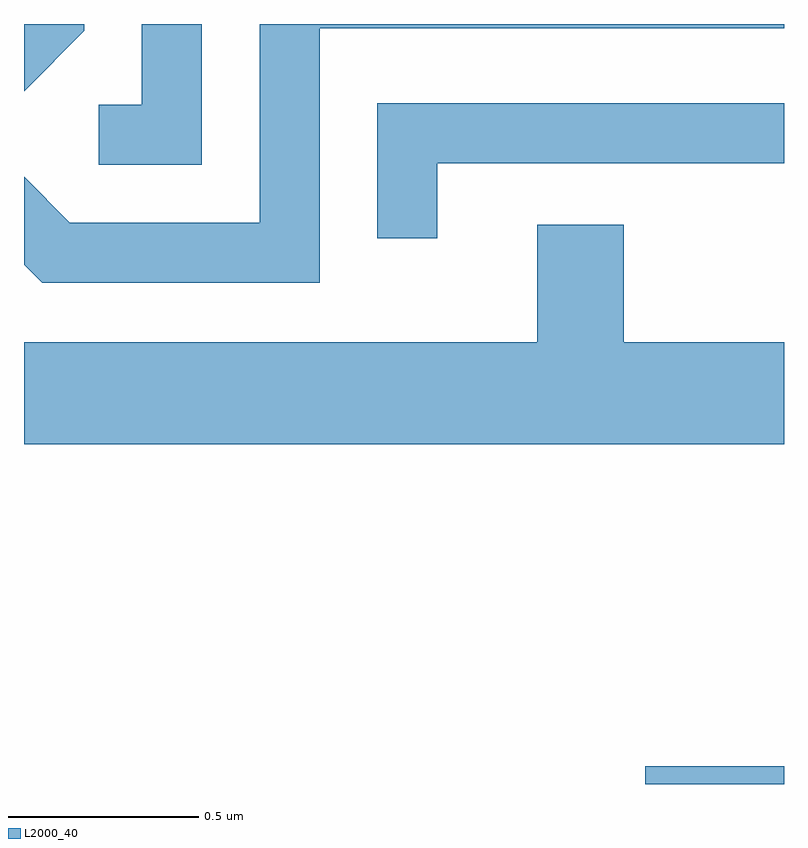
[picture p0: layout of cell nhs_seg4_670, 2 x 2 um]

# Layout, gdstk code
import gdstk
lib = gdstk.Library(unit=1e-6, precision=1e-09)
def R(c, l, rs):  # rectangles x0, y0, x1, y1
    for r in rs: c.add(gdstk.rectangle(r[:2], r[2:], *l))
def P(c, l, *ps):  # polygons
    for p in ps: c.add(gdstk.Polygon(p, *l))
L2000_40 = (2000, 40)

nhs_seg4_670 = lib.new_cell('nhs_seg4_670')
R(nhs_seg4_670, L2000_40, [(191.246,1375.982,191.611,1376.029)])
P(nhs_seg4_670, L2000_40, [(190.079,1377.982),(189.921,1377.982),(189.921,1377.769),(189.808,1377.769),(189.808,1377.611),(190.079,1377.611)],
  [(189.769,1377.964),(189.769,1377.982),(189.611,1377.982),(189.611,1377.805)],
  [(190.389,1377.971),(191.611,1377.971),(191.611,1377.982),(190.231,1377.982),(190.231,1377.459),(189.732,1377.459),(189.611,1377.58),(189.611,1377.349),(189.659,1377.301),(190.389,1377.301)],
  [(190.699,1377.616),(191.611,1377.616),(191.611,1377.774),(190.541,1377.774),(190.541,1377.418),(190.699,1377.418)],
  [(191.611,1377.144),(191.189,1377.144),(191.189,1377.454),(190.961,1377.454),(190.961,1377.144),(189.611,1377.144),(189.611,1376.876),(191.611,1376.876)])

lib.write_gds('nhs_seg4_670.gds')
